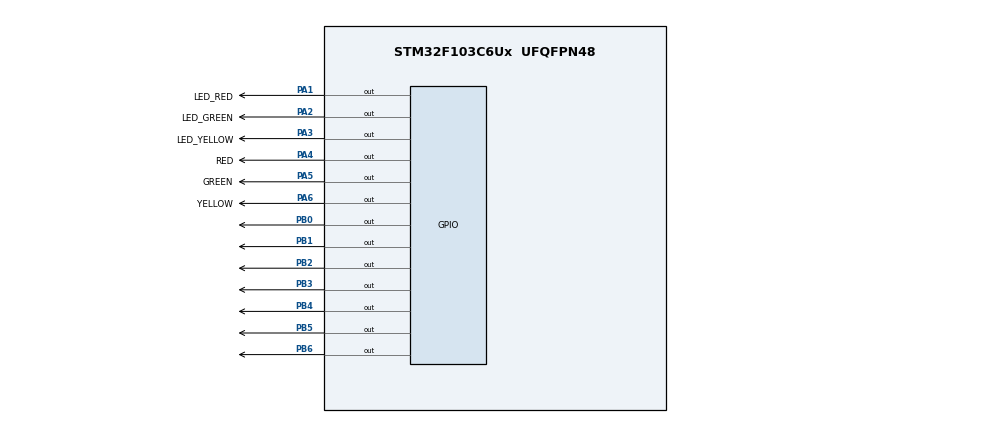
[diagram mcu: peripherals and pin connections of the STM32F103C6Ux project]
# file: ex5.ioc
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Mcu.Family=STM32F1
Mcu.Name=STM32F103C6Ux
Mcu.Package=UFQFPN48
NVIC.PriorityGroup=NVIC_PRIORITYGROUP_4
PA1.GPIO_Label=LED_RED
PA1.Signal=GPIO_Output
PA2.GPIO_Label=LED_GREEN
PA2.Signal=GPIO_Output
PA3.GPIO_Label=LED_YELLOW
PA3.Signal=GPIO_Output
PA4.GPIO_Label=RED
PA4.Signal=GPIO_Output
PA5.GPIO_Label=GREEN
PA5.Signal=GPIO_Output
PA6.GPIO_Label=YELLOW
PA6.Signal=GPIO_Output
PB0.Signal=GPIO_Output
PB1.Signal=GPIO_Output
PB2.Signal=GPIO_Output
PB3.Signal=GPIO_Output
PB4.Signal=GPIO_Output
PB5.Signal=GPIO_Output
PB6.Signal=GPIO_Output
ProjectManager.HeapSize=0x200
ProjectManager.StackSize=0x400
ProjectManager.TargetToolchain=STM32CubeIDE
RCC.APB1Freq_Value=8000000
RCC.APB2Freq_Value=8000000
VP_SYS_VS_ND.Mode=No_Debug
board=custom

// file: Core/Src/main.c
/* USER CODE BEGIN Header */
/**
  ******************************************************************************
  * @file           : main.c
  * @brief          : Main program body
  ******************************************************************************
  * @attention
  *
  * <h2><center>&copy; Copyright (c) 2022 STMicroelectronics.
  * All rights reserved.</center></h2>
  *
  * This software component is licensed by ST under BSD 3-Clause license,
  * the "License"; You may not use this file except in compliance with the
  * License. You may obtain a copy of the License at:
  *                        opensource.org/licenses/BSD-3-Clause
  *
  ******************************************************************************
  */
/* USER CODE END Header */
#include "main.h"

void SystemClock_Config(void);
static void MX_GPIO_Init(void);
/* USER CODE BEGIN PFP */
void display7SEG(int);
/* USER CODE END PFP */

#define RED 0
#define GREEN 1
#define YELLOW 2
int main(void)
{

  /* MCU Configuration--------------------------------------------------------*/

  /* Reset of all peripherals, Initializes the Flash interface and the Systick. */
  HAL_Init();

  /* Configure the system clock */
  SystemClock_Config();

  /* Initialize all configured peripherals */
  MX_GPIO_Init();

  /* Infinite loop */
  /* USER CODE BEGIN WHILE */
  int count_1 = 500;
  int count_2 = 300;
  int light_1 = RED;
  int light_2 = GREEN;
  while (1)
  {
	  if(light_1 == RED){
	  	 HAL_GPIO_WritePin(GPIOA, LED_RED_Pin, 0);
	  	 HAL_GPIO_WritePin(GPIOA, LED_YELLOW_Pin, 1);
	  	 HAL_GPIO_WritePin(GPIOA, LED_GREEN_Pin, 1);
	  	 if(count_1 > 0) count_1--;
	  	 else if (count_1 == 0)
	  	 {
	  	     count_1 = 300;
	  	     light_1 = GREEN;
	  	 }
	  }
	  else if(light_1 == YELLOW)
	  {
	  	  HAL_GPIO_WritePin(GPIOA, LED_RED_Pin, 1);
	  	  HAL_GPIO_WritePin(GPIOA, LED_YELLOW_Pin, 0);
	  	  HAL_GPIO_WritePin(GPIOA, LED_GREEN_Pin, 1);
	  	  if(count_1 > 0) count_1--;
	  	  else if (count_1 == 0)
	  	  {
	  	     count_1 = 500;
	  	     light_1 = RED;
	  	  }
	  }
	  else if(light_1 == GREEN)
	  {
	  	  HAL_GPIO_WritePin(GPIOA, LED_RED_Pin, 1);
	  	  HAL_GPIO_WritePin(GPIOA, LED_YELLOW_Pin, 1);
	  	  HAL_GPIO_WritePin(GPIOA, LED_GREEN_Pin, 0);
	  	  if(count_1 > 0) count_1--;
	  	  else if (count_1 == 0)
	  	  {
	  	     count_1 = 200;
	  	     light_1 = YELLOW;
	  	  }
	  }
	  if(light_2 == RED)
	  {
	  	  HAL_GPIO_WritePin(GPIOA, RED_Pin, 0);
	  	  HAL_GPIO_WritePin(GPIOA, YELLOW_Pin, 1);
	  	  HAL_GPIO_WritePin(GPIOA, GREEN_Pin, 1);
	  	  if(count_2 > 0) count_2--;
	  	  else if (count_2 == 0)
	  	  {
	  	     count_2 = 300;
	  	     light_2 = GREEN;
	  	  }
	  }
	  else if(light_2 == YELLOW)
	  {
	  	  HAL_GPIO_WritePin(GPIOA, RED_Pin, 1);
	  	  HAL_GPIO_WritePin(GPIOA, YELLOW_Pin, 0);
	  	  HAL_GPIO_WritePin(GPIOA, GREEN_Pin, 1);
	  	  if(count_2 > 0) count_2--;
	  	  else if (count_2 == 0)
	  	  {
	  		  count_2 = 500;
	  		  light_2 = RED;
	  	  }
	  }
	  else if(light_2 == GREEN)
	  {
		  HAL_GPIO_WritePin(GPIOA, RED_Pin, 1);
	  	  HAL_GPIO_WritePin(GPIOA, YELLOW_Pin, 1);
	  	  HAL_GPIO_WritePin(GPIOA, GREEN_Pin, 0);
	  	  if(count_2 > 0) count_2--;
	  	  else if (count_2 == 0)
	  	  {
	  	     count_2 = 200;
	  	     light_2 = YELLOW;
	  	  }
	  }
	  display7SEG((int)count_1/100);
	  HAL_Delay(10);
    /* USER CODE END WHILE */

  }
}

void SystemClock_Config(void)
{
  RCC_OscInitTypeDef RCC_OscInitStruct = {0};
  RCC_ClkInitTypeDef RCC_ClkInitStruct = {0};

  /** Initializes the RCC Oscillators according to the specified parameters
  * in the RCC_OscInitTypeDef structure.
  */
  RCC_OscInitStruct.OscillatorType = RCC_OSCILLATORTYPE_HSI;
  RCC_OscInitStruct.HSIState = RCC_HSI_ON;
  RCC_OscInitStruct.HSICalibrationValue = RCC_HSICALIBRATION_DEFAULT;
  RCC_OscInitStruct.PLL.PLLState = RCC_PLL_NONE;
  if (HAL_RCC_OscConfig(&RCC_OscInitStruct) != HAL_OK)
  {
    Error_Handler();
  }
  /** Initializes the CPU, AHB and APB buses clocks
  */
  RCC_ClkInitStruct.ClockType = RCC_CLOCKTYPE_HCLK|RCC_CLOCKTYPE_SYSCLK
                              |RCC_CLOCKTYPE_PCLK1|RCC_CLOCKTYPE_PCLK2;
  RCC_ClkInitStruct.SYSCLKSource = RCC_SYSCLKSOURCE_HSI;
  RCC_ClkInitStruct.AHBCLKDivider = RCC_SYSCLK_DIV1;
  RCC_ClkInitStruct.APB1CLKDivider = RCC_HCLK_DIV1;
  RCC_ClkInitStruct.APB2CLKDivider = RCC_HCLK_DIV1;

  if (HAL_RCC_ClockConfig(&RCC_ClkInitStruct, FLASH_LATENCY_0) != HAL_OK)
  {
    Error_Handler();
  }
}

static void MX_GPIO_Init(void)
{
  GPIO_InitTypeDef GPIO_InitStruct = {0};

  /* GPIO Ports Clock Enable */
  __HAL_RCC_GPIOA_CLK_ENABLE();
  __HAL_RCC_GPIOB_CLK_ENABLE();

  /*Configure GPIO pin Output Level */
  HAL_GPIO_WritePin(GPIOA, LED_RED_Pin|LED_GREEN_Pin|LED_YELLOW_Pin|RED_Pin
                          |GREEN_Pin|YELLOW_Pin, GPIO_PIN_RESET);

  /*Configure GPIO pin Output Level */
  HAL_GPIO_WritePin(GPIOB, GPIO_PIN_0|GPIO_PIN_1|GPIO_PIN_2|GPIO_PIN_3
                          |GPIO_PIN_4|GPIO_PIN_5|GPIO_PIN_6, GPIO_PIN_RESET);

  /*Configure GPIO pins : LED_RED_Pin LED_GREEN_Pin LED_YELLOW_Pin RED_Pin
                           GREEN_Pin YELLOW_Pin */
  GPIO_InitStruct.Pin = LED_RED_Pin|LED_GREEN_Pin|LED_YELLOW_Pin|RED_Pin
                          |GREEN_Pin|YELLOW_Pin;
  GPIO_InitStruct.Mode = GPIO_MODE_OUTPUT_PP;
  GPIO_InitStruct.Pull = GPIO_NOPULL;
  GPIO_InitStruct.Speed = GPIO_SPEED_FREQ_LOW;
  HAL_GPIO_Init(GPIOA, &GPIO_InitStruct);

  /*Configure GPIO pins : PB0 PB1 PB2 PB3
                           PB4 PB5 PB6 */
  GPIO_InitStruct.Pin = GPIO_PIN_0|GPIO_PIN_1|GPIO_PIN_2|GPIO_PIN_3
                          |GPIO_PIN_4|GPIO_PIN_5|GPIO_PIN_6;
  GPIO_InitStruct.Mode = GPIO_MODE_OUTPUT_PP;
  GPIO_InitStruct.Pull = GPIO_NOPULL;
  GPIO_InitStruct.Speed = GPIO_SPEED_FREQ_LOW;
  HAL_GPIO_Init(GPIOB, &GPIO_InitStruct);

}

/* USER CODE BEGIN 4 */
void display7SEG(int cnt){
	HAL_GPIO_WritePin(GPIOB, GPIO_PIN_0|GPIO_PIN_1|GPIO_PIN_2|GPIO_PIN_3|GPIO_PIN_4|GPIO_PIN_5|GPIO_PIN_6, 1);
	switch(cnt){
	case 0:
		HAL_GPIO_WritePin(GPIOB, GPIO_PIN_0|GPIO_PIN_1|GPIO_PIN_2|GPIO_PIN_3|GPIO_PIN_4|GPIO_PIN_5, 0);
		break;
	case 1:
		HAL_GPIO_WritePin(GPIOB, GPIO_PIN_1|GPIO_PIN_2, 0);
		break;
	case 2:
		HAL_GPIO_WritePin(GPIOB, GPIO_PIN_0|GPIO_PIN_1|GPIO_PIN_3|GPIO_PIN_4|GPIO_PIN_6, 0);
		break;
	case 3:
		HAL_GPIO_WritePin(GPIOB, GPIO_PIN_0|GPIO_PIN_1|GPIO_PIN_2|GPIO_PIN_3|GPIO_PIN_6, 0);
		break;
	case 4:
		HAL_GPIO_WritePin(GPIOB, GPIO_PIN_1|GPIO_PIN_2|GPIO_PIN_5|GPIO_PIN_6, 0);
		break;
	case 5:
		HAL_GPIO_WritePin(GPIOB, GPIO_PIN_0|GPIO_PIN_2|GPIO_PIN_3|GPIO_PIN_5|GPIO_PIN_6, 0);
		break;
	case 6:
		HAL_GPIO_WritePin(GPIOB, GPIO_PIN_0|GPIO_PIN_2|GPIO_PIN_3|GPIO_PIN_4|GPIO_PIN_5|GPIO_PIN_6, 0);
		break;
	case 7:
		HAL_GPIO_WritePin(GPIOB, GPIO_PIN_0|GPIO_PIN_1|GPIO_PIN_2, 0);
		break;
	case 8:
		HAL_GPIO_WritePin(GPIOB, GPIO_PIN_0|GPIO_PIN_1|GPIO_PIN_2|GPIO_PIN_3|GPIO_PIN_4|GPIO_PIN_5|GPIO_PIN_6, 0);
		break;
	case 9:
		HAL_GPIO_WritePin(GPIOB, GPIO_PIN_0|GPIO_PIN_1|GPIO_PIN_2|GPIO_PIN_3|GPIO_PIN_5|GPIO_PIN_6, 0);
	}
}
/* USER CODE END 4 */

void Error_Handler(void)
{
  __disable_irq();
  while (1)
  {
  }
}

/************************ (C) COPYRIGHT STMicroelectronics *****END OF FILE****/
